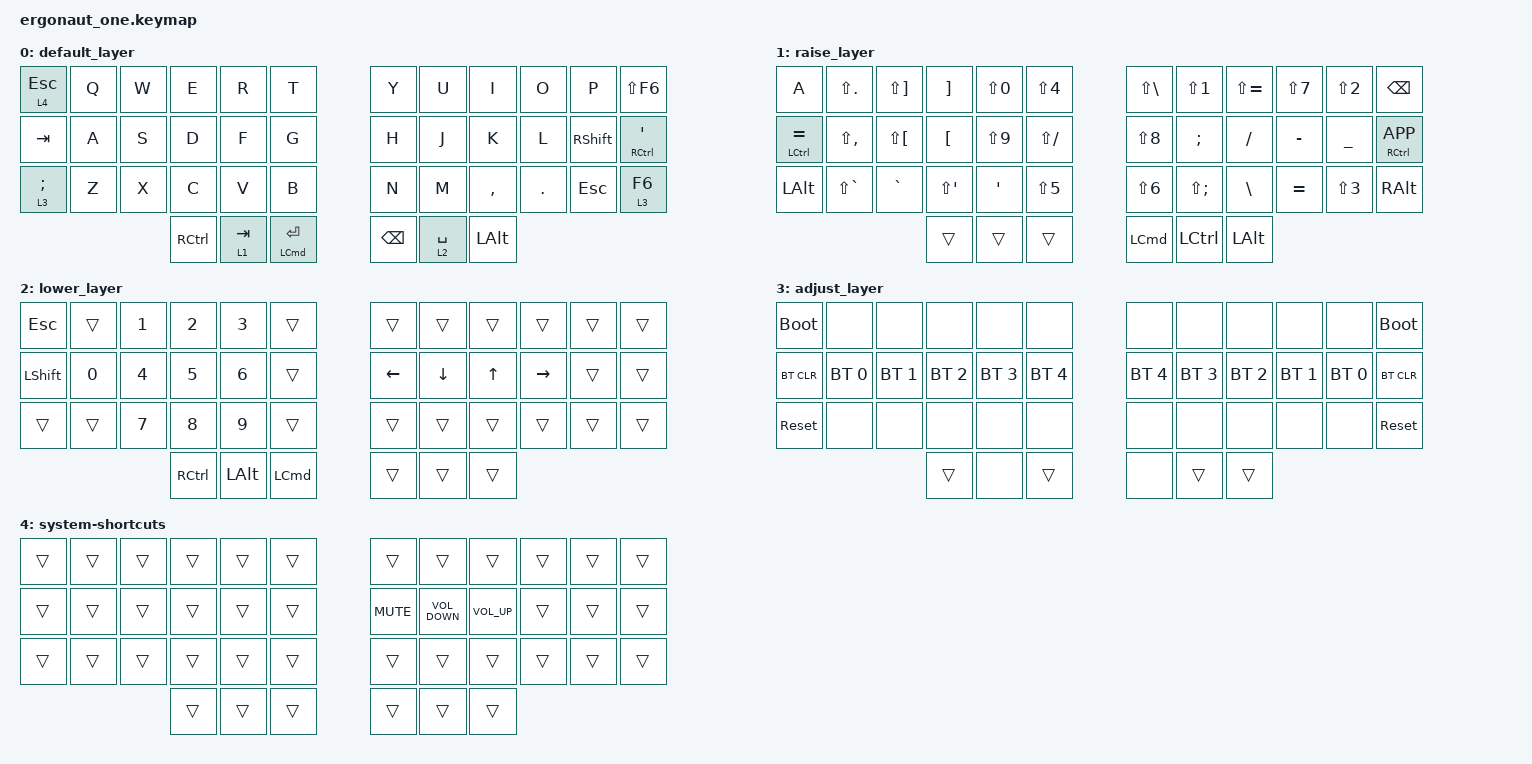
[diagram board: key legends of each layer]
#include <behaviors.dtsi>
#include <dt-bindings/zmk/bt.h>
#include <dt-bindings/zmk/keys.h>

#define DEF 0
#define LWR 1
#define RSE 2
#define ADJ 3

&mt { quick-tap-ms = <200>; };

/ {
    conditional_layers { compatible = "zmk,conditional-layers"; };

    keymap {
        compatible = "zmk,keymap";

        default_layer {
            bindings = <
&lt 4 ESCAPE  &kp Q  &kp W  &kp E              &kp R      &kp T                   &kp Y          &kp U        &kp I         &kp O    &kp P            &kp LS(F6)
&kp TAB       &kp A  &kp S  &kp D              &kp F      &kp G                   &kp H          &kp J        &kp K         &kp L    &kp RIGHT_SHIFT  &mt RCTRL SQT
&lt 3 SEMI    &kp Z  &kp X  &kp C              &kp V      &kp B                   &kp N          &kp M        &kp COMMA     &kp DOT  &kp ESCAPE       &lt 3 F6
                            &kp RIGHT_CONTROL  &lt 1 TAB  &mt LEFT_COMMAND ENTER  &kp BACKSPACE  &lt 2 SPACE  &kp LEFT_ALT
            >;
        };

        raise_layer {
            bindings = <
&kp A            &kp LS(PERIOD)  &kp LS(RIGHT_BRACKET)  &kp RIGHT_BRACKET     &kp LS(NUMBER_0)  &kp LS(N4)        &kp LS(BACKSLASH)  &kp LS(N1)        &kp LS(EQUAL)  &kp LS(NUMBER_7)  &kp LS(NUMBER_2)  &kp BACKSPACE
&mt LCTRL EQUAL  &kp LS(COMMA)   &kp LS(LEFT_BRACKET)   &kp LEFT_BRACKET      &kp LS(NUMBER_9)  &kp LS(SLASH)     &kp LS(NUMBER_8)   &kp SEMICOLON     &kp SLASH      &kp MINUS         &kp UNDER         &mt RCTRL K_APP
&kp LALT         &kp LS(GRAVE)   &kp GRAVE              &kp LS(SINGLE_QUOTE)  &kp SINGLE_QUOTE  &kp LS(NUMBER_5)  &kp LS(NUMBER_6)   &kp LS(SEMI)      &kp BACKSLASH  &kp EQUAL         &kp LS(NUMBER_3)  &kp RALT
                                                        &trans                &trans            &trans            &kp LEFT_COMMAND   &kp LEFT_CONTROL  &kp LEFT_ALT
            >;
        };

        lower_layer {
            bindings = <
&kp ESCAPE      &trans        &kp NUMBER_1  &kp NUMBER_2       &kp NUMBER_3  &trans            &trans          &trans          &trans        &trans           &trans  &trans
&kp LEFT_SHIFT  &kp NUMBER_0  &kp NUMBER_4  &kp N5             &kp NUMBER_6  &trans            &kp LEFT_ARROW  &kp DOWN_ARROW  &kp UP_ARROW  &kp RIGHT_ARROW  &trans  &trans
&trans          &trans        &kp NUMBER_7  &kp NUMBER_8       &kp NUMBER_9  &trans            &trans          &trans          &trans        &trans           &trans  &trans
                                            &kp RIGHT_CONTROL  &kp LEFT_ALT  &kp LEFT_COMMAND  &trans          &trans          &trans
            >;
        };

        adjust_layer {
            bindings = <
&bootloader  &none         &none         &none         &none         &none         &none         &none         &none         &none         &none         &bootloader
&bt BT_CLR   &bt BT_SEL 0  &bt BT_SEL 1  &bt BT_SEL 2  &bt BT_SEL 3  &bt BT_SEL 4  &bt BT_SEL 4  &bt BT_SEL 3  &bt BT_SEL 2  &bt BT_SEL 1  &bt BT_SEL 0  &bt BT_CLR
&sys_reset   &none         &none         &none         &none         &none         &none         &none         &none         &none         &none         &sys_reset
                                         &trans        &none         &trans        &none         &trans        &trans
            >;
        };

        system-shortcuts {
            bindings = <
&trans  &trans  &trans  &trans  &trans  &trans  &trans      &trans             &trans           &trans  &trans  &trans
&trans  &trans  &trans  &trans  &trans  &trans  &kp K_MUTE  &kp C_VOLUME_DOWN  &kp C_VOLUME_UP  &trans  &trans  &trans
&trans  &trans  &trans  &trans  &trans  &trans  &trans      &trans             &trans           &trans  &trans  &trans
                        &trans  &trans  &trans  &trans      &trans             &trans
            >;
        };
    };
};
